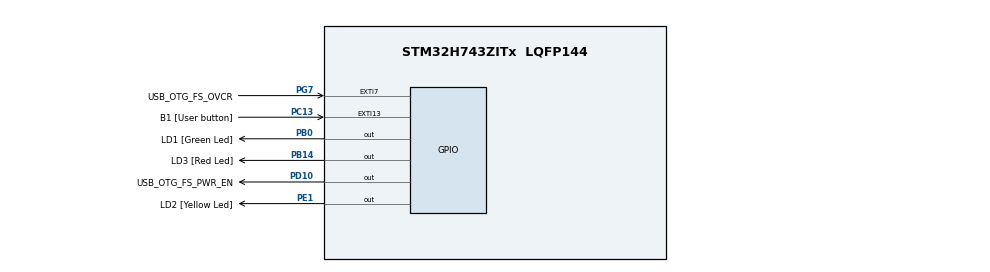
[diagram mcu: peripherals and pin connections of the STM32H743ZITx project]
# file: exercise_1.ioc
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FREERTOS.Tasks01=defaultTask,0,128,StartDefaultTask,Default,NULL,Dynamic,NULL,NULL
FREERTOS.configENABLE_FPU=0
FREERTOS.configUSE_NEWLIB_REENTRANT=1
FREERTOS.configUSE_PREEMPTION=1
Mcu.Family=STM32H7
Mcu.Name=STM32H743ZITx
Mcu.Package=LQFP144
NVIC.EXTI15_10_IRQn=true\:5\:0\:false\:false\:true\:true\:true\:true\:true
NVIC.PriorityGroup=NVIC_PRIORITYGROUP_4
NVIC.TIM1_UP_IRQn=true\:15\:0\:false\:false\:true\:false\:false\:true\:true
NVIC.TimeBase=TIM1_UP_IRQn
NVIC.TimeBaseIP=TIM1
PB0.GPIO_Label=LD1 [Green Led]
PB0.Signal=GPIO_Output
PB14.GPIO_Label=LD3 [Red Led]
PB14.Signal=GPIO_Output
PC13.GPIO_Label=B1 [User button]
PC13.Signal=GPXTI13
PC14-OSC32_IN\ (OSC32_IN).Mode=LSE-External-Oscillator
PC14-OSC32_IN\ (OSC32_IN).Signal=RCC_OSC32_IN
PC15-OSC32_OUT\ (OSC32_OUT).Mode=LSE-External-Oscillator
PC15-OSC32_OUT\ (OSC32_OUT).Signal=RCC_OSC32_OUT
PD10.GPIO_Label=USB_OTG_FS_PWR_EN
PD10.Signal=GPIO_Output
PE1.GPIO_Label=LD2 [Yellow Led]
PE1.Signal=GPIO_Output
PG7.GPIO_Label=USB_OTG_FS_OVCR
PG7.Signal=GPXTI7
PH0-OSC_IN\ (PH0).Mode=HSE-External-Clock-Source
PH0-OSC_IN\ (PH0).Signal=RCC_OSC_IN
PH1-OSC_OUT\ (PH1).Signal=RCC_OSC_OUT
ProjectManager.HeapSize=0x200
ProjectManager.StackSize=0x400
ProjectManager.TargetToolchain=STM32CubeIDE
RCC.ADCFreq_Value=16125000
RCC.APB1Freq_Value=64000000
RCC.APB2Freq_Value=64000000
RCC.APB3Freq_Value=64000000
RCC.APB4Freq_Value=64000000
RCC.CortexFreq_Value=64000000
RCC.DIVM1=1
RCC.DIVN1=24
RCC.DIVQ1=4
RCC.HCLKFreq_Value=64000000
RCC.HSE_VALUE=8000000
RCC.PLLFRACN=0
RCC.PLLSourceVirtual=RCC_PLLSOURCE_HSE
RCC.PWR_Regulator_Voltage_Scale=PWR_REGULATOR_VOLTAGE_SCALE2
RCC.ProductRev=revV
RCC.SYSCLKFreq_VALUE=64000000
RCC.USBFreq_Value=48000000
VP_FREERTOS_VS_CMSIS_V1.Mode=CMSIS_V1
VP_SYS_VS_tim1.Mode=TIM1
board=NUCLEO-H743ZI2

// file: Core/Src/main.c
/* USER CODE BEGIN Header */
/**
  ******************************************************************************
  * @file           : main.c
  * @brief          : Main program body
  ******************************************************************************
  * @attention
  *
  * Copyright (c) 2025 STMicroelectronics.
  * All rights reserved.
  *
  * This software is licensed under terms that can be found in the LICENSE file
  * in the root directory of this software component.
  * If no LICENSE file comes with this software, it is provided AS-IS.
  *
  ******************************************************************************
  */
/* USER CODE END Header */
#include "main.h"
#include "cmsis_os.h"

/* USER CODE BEGIN Includes */
#include "stdio.h"
#include "semphr.h"
/* USER CODE END Includes */

osThreadId defaultTaskHandle;
/* USER CODE BEGIN PV */

osThreadId LedTaskHandle, LD2TaskHandle, LD3TaskHandle;
osThreadId ButtonTaskHandle;
osThreadId CounterTaskHandle;

xSemaphoreHandle xEvent_ButtonISR;
xSemaphoreHandle xEvent_ButtonPressed;
xSemaphoreHandle xEvent_CounterIncremented;

/* USER CODE END PV */

void SystemClock_Config(void);
static void MX_GPIO_Init(void);
void StartDefaultTask(void const * argument);

/* USER CODE BEGIN PFP */

void StartLedTask(void const * argument);
void StartLD2Task(void const * argument);
void StartLD3Task(void const * argument);

void StartButtonTask(void const * argument);

void StartCounterTask(void const * argument);

/* USER CODE END PFP */

/* USER CODE BEGIN 0 */
int _write(int file, char *ptr, int len)
{
	/* Implement your write code here, this is used by puts and printf for example */
	int i=0;
	for(i=0 ; i<len ; i++)	ITM_SendChar((*ptr++));

	return len;
}

uint8_t buttonPressed = 0;
uint8_t buttonCounter = 0;
/* USER CODE END 0 */

int main(void)
{
  /* USER CODE BEGIN 1 */
	printf("Entered main function\n\n");
  /* USER CODE END 1 */

  /* MCU Configuration--------------------------------------------------------*/

  /* Reset of all peripherals, Initializes the Flash interface and the Systick. */
  HAL_Init();

  /* Configure the system clock */
  SystemClock_Config();

  /* Initialize all configured peripherals */
  MX_GPIO_Init();

  /* USER CODE BEGIN RTOS_SEMAPHORES */
  /* add semaphores, ... */
  printf("Creating semaphores\n");

  xEvent_ButtonPressed = xSemaphoreCreateBinary();
  xEvent_CounterIncremented = xSemaphoreCreateBinary();

  printf("Created semaphores\n");
  /* USER CODE END RTOS_SEMAPHORES */

  /* Create the thread(s) */
  /* definition and creation of defaultTask */
  osThreadDef(defaultTask, StartDefaultTask, osPriorityNormal, 0, 128);
  defaultTaskHandle = osThreadCreate(osThread(defaultTask), NULL);

  /* USER CODE BEGIN RTOS_THREADS */
  /* add threads, ... */
  printf("Creating tasks\n");
  osThreadDef(LDTask, StartLedTask, osPriorityHigh, 0, 128);
  LedTaskHandle = osThreadCreate(osThread(LDTask), NULL);

  osThreadDef(CntTask, StartCounterTask, osPriorityAboveNormal, 0, 128);
  CounterTaskHandle = osThreadCreate(osThread(CntTask), NULL);

  osThreadDef(BtnTask, StartButtonTask, osPriorityNormal, 0, 128);
  ButtonTaskHandle = osThreadCreate(osThread(BtnTask), NULL);
  printf("Created tasks\n\n");

  printf("Starting scheduler\n");
  /* USER CODE END RTOS_THREADS */

  /* Start scheduler */
  osKernelStart();

  /* We should never get here as control is now taken by the scheduler */
  /* Infinite loop */
  /* USER CODE BEGIN WHILE */
  printf("ERROR: Left OS KERNEL!\n");
  while (1)
  {
    /* USER CODE END WHILE */

  }
}

void SystemClock_Config(void)
{
  LL_FLASH_SetLatency(LL_FLASH_LATENCY_1);
  while(LL_FLASH_GetLatency()!= LL_FLASH_LATENCY_1)
  {
  }
  LL_PWR_ConfigSupply(LL_PWR_LDO_SUPPLY);
  LL_PWR_SetRegulVoltageScaling(LL_PWR_REGU_VOLTAGE_SCALE2);
  LL_RCC_HSI_Enable();

   /* Wait till HSI is ready */
  while(LL_RCC_HSI_IsReady() != 1)
  {

  }
  LL_RCC_HSI_SetCalibTrimming(64);
  LL_RCC_HSI_SetDivider(LL_RCC_HSI_DIV1);
  LL_RCC_SetSysClkSource(LL_RCC_SYS_CLKSOURCE_HSI);

   /* Wait till System clock is ready */
  while(LL_RCC_GetSysClkSource() != LL_RCC_SYS_CLKSOURCE_STATUS_HSI)
  {

  }
  LL_RCC_SetSysPrescaler(LL_RCC_SYSCLK_DIV_1);
  LL_RCC_SetAHBPrescaler(LL_RCC_AHB_DIV_1);
  LL_RCC_SetAPB1Prescaler(LL_RCC_APB1_DIV_1);
  LL_RCC_SetAPB2Prescaler(LL_RCC_APB2_DIV_1);
  LL_RCC_SetAPB3Prescaler(LL_RCC_APB3_DIV_1);
  LL_RCC_SetAPB4Prescaler(LL_RCC_APB4_DIV_1);
  LL_SetSystemCoreClock(64000000);

   /* Update the time base */
  if (HAL_InitTick (TICK_INT_PRIORITY) != HAL_OK)
  {
    Error_Handler();
  }
}

static void MX_GPIO_Init(void)
{
  LL_EXTI_InitTypeDef EXTI_InitStruct = {0};
  LL_GPIO_InitTypeDef GPIO_InitStruct = {0};

  /* GPIO Ports Clock Enable */
  LL_AHB4_GRP1_EnableClock(LL_AHB4_GRP1_PERIPH_GPIOC);
  LL_AHB4_GRP1_EnableClock(LL_AHB4_GRP1_PERIPH_GPIOH);
  LL_AHB4_GRP1_EnableClock(LL_AHB4_GRP1_PERIPH_GPIOB);
  LL_AHB4_GRP1_EnableClock(LL_AHB4_GRP1_PERIPH_GPIOD);
  LL_AHB4_GRP1_EnableClock(LL_AHB4_GRP1_PERIPH_GPIOG);
  LL_AHB4_GRP1_EnableClock(LL_AHB4_GRP1_PERIPH_GPIOE);

  /**/
  LL_GPIO_ResetOutputPin(GPIOB, LD1_Pin|LD3_Pin);

  /**/
  LL_GPIO_ResetOutputPin(USB_OTG_FS_PWR_EN_GPIO_Port, USB_OTG_FS_PWR_EN_Pin);

  /**/
  LL_GPIO_ResetOutputPin(LD2_GPIO_Port, LD2_Pin);

  /**/
  LL_SYSCFG_SetEXTISource(LL_SYSCFG_EXTI_PORTC, LL_SYSCFG_EXTI_LINE13);

  /**/
  LL_SYSCFG_SetEXTISource(LL_SYSCFG_EXTI_PORTG, LL_SYSCFG_EXTI_LINE7);

  /**/
  EXTI_InitStruct.Line_0_31 = LL_EXTI_LINE_13;
  EXTI_InitStruct.Line_32_63 = LL_EXTI_LINE_NONE;
  EXTI_InitStruct.Line_64_95 = LL_EXTI_LINE_NONE;
  EXTI_InitStruct.LineCommand = ENABLE;
  EXTI_InitStruct.Mode = LL_EXTI_MODE_IT;
  EXTI_InitStruct.Trigger = LL_EXTI_TRIGGER_RISING;
  LL_EXTI_Init(&EXTI_InitStruct);

  /**/
  EXTI_InitStruct.Line_0_31 = LL_EXTI_LINE_7;
  EXTI_InitStruct.Line_32_63 = LL_EXTI_LINE_NONE;
  EXTI_InitStruct.Line_64_95 = LL_EXTI_LINE_NONE;
  EXTI_InitStruct.LineCommand = ENABLE;
  EXTI_InitStruct.Mode = LL_EXTI_MODE_IT;
  EXTI_InitStruct.Trigger = LL_EXTI_TRIGGER_RISING;
  LL_EXTI_Init(&EXTI_InitStruct);

  /**/
  LL_GPIO_SetPinPull(B1_GPIO_Port, B1_Pin, LL_GPIO_PULL_NO);

  /**/
  LL_GPIO_SetPinPull(USB_OTG_FS_OVCR_GPIO_Port, USB_OTG_FS_OVCR_Pin, LL_GPIO_PULL_NO);

  /**/
  LL_GPIO_SetPinMode(B1_GPIO_Port, B1_Pin, LL_GPIO_MODE_INPUT);

  /**/
  LL_GPIO_SetPinMode(USB_OTG_FS_OVCR_GPIO_Port, USB_OTG_FS_OVCR_Pin, LL_GPIO_MODE_INPUT);

  /**/
  GPIO_InitStruct.Pin = LD1_Pin|LD3_Pin;
  GPIO_InitStruct.Mode = LL_GPIO_MODE_OUTPUT;
  GPIO_InitStruct.Speed = LL_GPIO_SPEED_FREQ_LOW;
  GPIO_InitStruct.OutputType = LL_GPIO_OUTPUT_PUSHPULL;
  GPIO_InitStruct.Pull = LL_GPIO_PULL_NO;
  LL_GPIO_Init(GPIOB, &GPIO_InitStruct);

  /**/
  GPIO_InitStruct.Pin = USB_OTG_FS_PWR_EN_Pin;
  GPIO_InitStruct.Mode = LL_GPIO_MODE_OUTPUT;
  GPIO_InitStruct.Speed = LL_GPIO_SPEED_FREQ_LOW;
  GPIO_InitStruct.OutputType = LL_GPIO_OUTPUT_PUSHPULL;
  GPIO_InitStruct.Pull = LL_GPIO_PULL_NO;
  LL_GPIO_Init(USB_OTG_FS_PWR_EN_GPIO_Port, &GPIO_InitStruct);

  /**/
  GPIO_InitStruct.Pin = LD2_Pin;
  GPIO_InitStruct.Mode = LL_GPIO_MODE_OUTPUT;
  GPIO_InitStruct.Speed = LL_GPIO_SPEED_FREQ_LOW;
  GPIO_InitStruct.OutputType = LL_GPIO_OUTPUT_PUSHPULL;
  GPIO_InitStruct.Pull = LL_GPIO_PULL_NO;
  LL_GPIO_Init(LD2_GPIO_Port, &GPIO_InitStruct);

  /* EXTI interrupt init*/
  NVIC_SetPriority(EXTI15_10_IRQn, NVIC_EncodePriority(NVIC_GetPriorityGrouping(),5, 0));
  NVIC_EnableIRQ(EXTI15_10_IRQn);

}

/* USER CODE BEGIN 4 */

/**
 * @brief "Button Task" Function
 *
 * This task detect button press event and signal it to the other task
 * Thought binary semaphore
 */
void StartButtonTask(void const * argument)
{
	// Task Initialization
	uint8_t previousButtonState = 0;
	uint8_t currentButtonState = 0;

	currentButtonState = HAL_GPIO_ReadPin(B1_GPIO_Port, B1_Pin);

	// Task Loop
	for(;;)
	{
		currentButtonState = HAL_GPIO_ReadPin(B1_GPIO_Port, B1_Pin);
		if(previousButtonState != currentButtonState)
		{
			for(uint16_t i = 0; i < 1000; i++);
			currentButtonState = HAL_GPIO_ReadPin(B1_GPIO_Port, B1_Pin);
			previousButtonState = currentButtonState;
			if(currentButtonState)
			{
				printf("Button pressed\n");
				xSemaphoreGive(xEvent_ButtonPressed);
			}
		}

//		xSemaphoreTake(xEvent_ButtonISR, portMAX_DELAY);
//		for(uint16_t i = 0; i < 1000; i++);
//		if(HAL_GPIO_ReadPin(B1_GPIO_Port, B1_Pin))
//		{
//			printf("Button pressed\n");
//			xSemaphoreGive(xEvent_ButtonPressed);
//		}
	}
}

void StartCounterTask(void const * argumnet)
{
	// Task Initialization

	// Task Loop
	for(;;)
	{
		xSemaphoreTake(xEvent_ButtonPressed, portMAX_DELAY);

		if(buttonCounter < 2)
		{
			buttonCounter++;
		}
		else
		{
			buttonCounter = 0;

			xSemaphoreGive(xEvent_CounterIncremented);
		}
		printf("Counter = %u\n", buttonCounter);

	}
}

void StartLedTask(void const * argument)
{
	// Task Initialization
	HAL_GPIO_WritePin(LD1_GPIO_Port, LD1_Pin, GPIO_PIN_RESET);

	// Task Loop
	for(;;)
	{
		xSemaphoreTake(xEvent_CounterIncremented, portMAX_DELAY);
		HAL_GPIO_TogglePin(LD1_GPIO_Port, LD1_Pin);
	}
}

void HAL_GPIO_EXTI_Callback(uint16_t GPIO_Pin)
{
	if(GPIO_Pin == GPIO_PIN_13)
	{
//		printf("a\n");
//
//		BaseType_t xHigherPriorityTaskWoken = pdFALSE;
//
//	    xSemaphoreGiveFromISR(xEvent_ButtonISR, &xHigherPriorityTaskWoken);
//
//		portYIELD_FROM_ISR( xHigherPriorityTaskWoken );

//		xSemaphoreGive(xEvent_ButtonISR);

	}
}

/* USER CODE END 4 */

void StartDefaultTask(void const * argument)
{
  for(;;)
  {
    osDelay(1);
  }
}

void HAL_TIM_PeriodElapsedCallback(TIM_HandleTypeDef *htim)
{
  if (htim->Instance == TIM1) {
    HAL_IncTick();
  }
}

void Error_Handler(void)
{
  __disable_irq();
  while (1)
  {
  }
}
